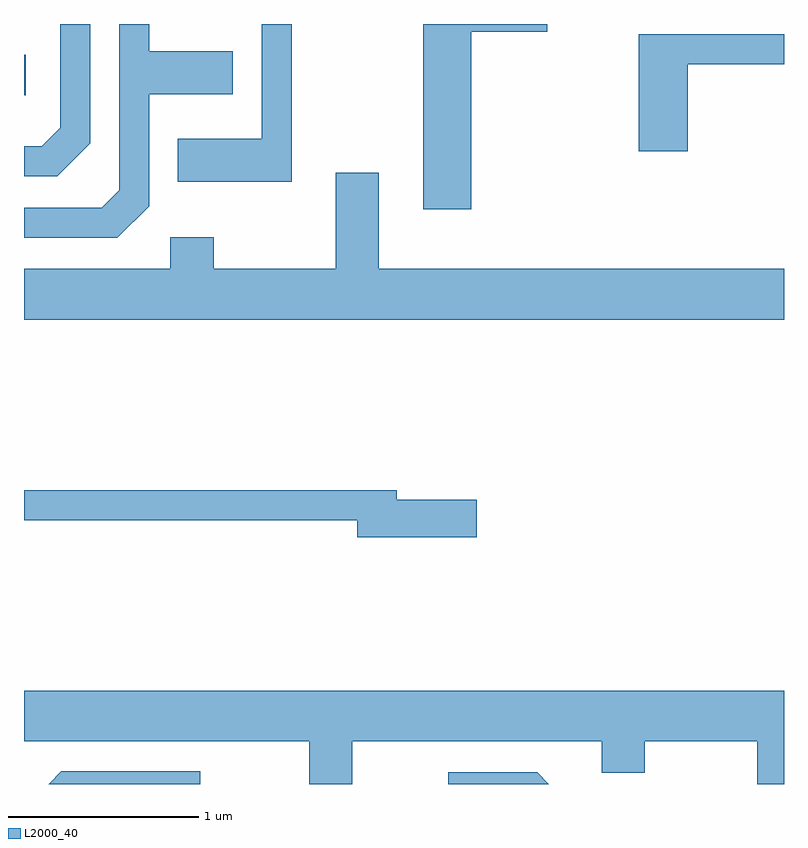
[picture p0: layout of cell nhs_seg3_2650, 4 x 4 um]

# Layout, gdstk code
import gdstk
lib = gdstk.Library(unit=1e-6, precision=1e-09)
def R(c, l, rs):  # rectangles x0, y0, x1, y1
    for r in rs: c.add(gdstk.rectangle(r[:2], r[2:], *l))
def P(c, l, *ps):  # polygons
    for p in ps: c.add(gdstk.Polygon(p, *l))
L2000_40 = (2000, 40)

nhs_seg3_2650 = lib.new_cell('nhs_seg3_2650')
R(nhs_seg3_2650, L2000_40, [(261.611,1251.516,261.619,1251.729)])
P(nhs_seg3_2650, L2000_40, [(262.269,1250.934),(262.269,1251.521),(262.709,1251.521),(262.709,1251.749),(262.269,1251.749),(262.269,1251.892),(262.111,1251.892),(262.111,1251.017),(262.019,1250.924),(261.611,1250.924),(261.611,1250.766),(262.102,1250.766)],
  [(263.019,1251.892),(262.861,1251.892),(262.861,1251.289),(262.421,1251.289),(262.421,1251.061),(263.019,1251.061)],
  [(263.964,1251.851),(264.364,1251.851),(264.364,1251.892),(263.711,1251.892),(263.711,1250.916),(263.964,1250.916)],
  [(261.959,1251.264),(261.959,1251.892),(261.801,1251.892),(261.801,1251.347),(261.704,1251.249),(261.611,1251.249),(261.611,1251.091),(261.787,1251.091)],
  [(265.104,1251.681),(265.611,1251.681),(265.611,1251.839),(264.846,1251.839),(264.846,1251.221),(265.104,1251.221)],
  [(265.611,1250.604),(263.479,1250.604),(263.479,1251.109),(263.251,1251.109),(263.251,1250.604),(262.609,1250.604),(262.609,1250.769),(262.381,1250.769),(262.381,1250.604),(261.611,1250.604),(261.611,1250.336),(265.611,1250.336)],
  [(263.994,1249.389),(263.574,1249.389),(263.574,1249.439),(261.611,1249.439),(261.611,1249.281),(263.366,1249.281),(263.366,1249.191),(263.994,1249.191)],
  [(263.339,1248.116),(264.651,1248.116),(264.651,1247.951),(264.879,1247.951),(264.879,1248.116),(265.471,1248.116),(265.471,1247.892),(265.611,1247.892),(265.611,1248.384),(261.611,1248.384),(261.611,1248.116),(263.111,1248.116),(263.111,1247.892),(263.339,1247.892)],
  [(262.539,1247.959),(261.808,1247.959),(261.741,1247.892),(262.539,1247.892)],
  [(264.312,1247.954),(263.843,1247.954),(263.843,1247.892),(264.374,1247.892)])

lib.write_gds('nhs_seg3_2650.gds')
